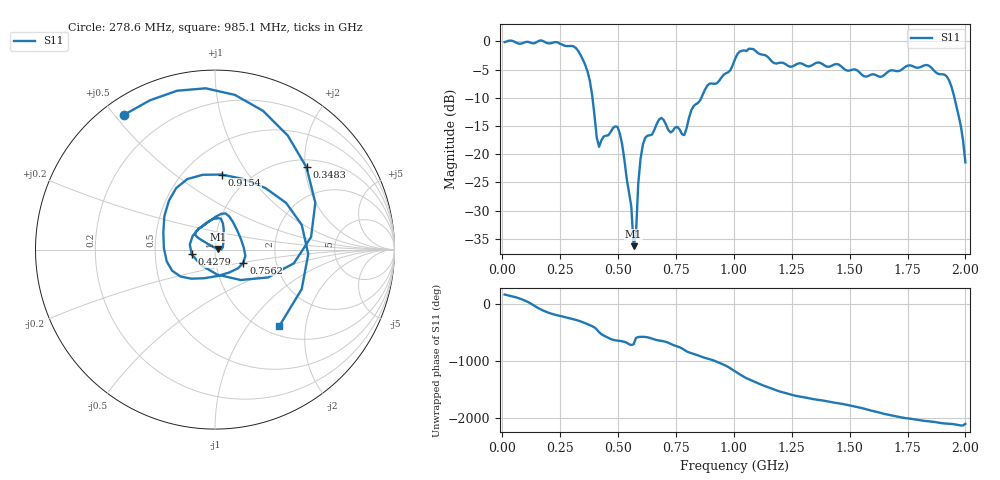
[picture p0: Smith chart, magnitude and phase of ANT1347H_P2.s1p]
!Created with skrf (http://scikit-rf.org).
# Hz S RI R 50.0
!freq ReS11 ImS11
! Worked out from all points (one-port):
!   201 points, 10 MHz to 2 GHz, reference 50 ohm
!   lowest |S11| = -36.3 dB at 567.2 MHz (marker M1), VSWR 1.03, Z = 51.5 + j0.371 ohm
!   |S11| at or under -10 dB: 389.4 MHz to 859.6 MHz (470.2 MHz wide, 75.3 % of centre); 1.953 GHz to end of sweep
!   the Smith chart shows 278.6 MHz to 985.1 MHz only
!   S11 on the Smith chart (normalised r, x): 278.6 MHz: 0.06, +0.53; 348.3 MHz: 1.18, +2.04; 427.9 MHz: 0.77, -0.04; 756.2 MHz: 1.36, -0.20; 915.5 MHz: 0.75, +0.76; 985.1 MHz: 1.17, -1.44
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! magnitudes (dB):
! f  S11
! 10 MHz  -0.1
! 258.8 MHz  -0.6
! 278.6 MHz  -0.9
! 348.3 MHz  -3.3
! 378.1 MHz  -7.0
! 408 MHz  -17.1
! 427.9 MHz  -17.5
! 507.5 MHz  -16.3
! 557.2 MHz  -29.3
! 567.2 MHz  -36.3
! 577.1 MHz  -34.3
! 587.1 MHz  -25.3
! 597 MHz  -20.8
! 617 MHz  -17.1
! 686.6 MHz  -13.6
! 756.2 MHz  -15.2
! 786.1 MHz  -16.6
! 825.9 MHz  -11.5
! 915.5 MHz  -7.5
! 985.1 MHz  -5.1
! 1.005 GHz  -3.2
! 1.075 GHz  -1.3
! 1.254 GHz  -4.4
! 1.502 GHz  -5.2
! 1.751 GHz  -4.3
! 1.92 GHz  -6.3
! 1.98 GHz  -14.9
! 2 GHz  -21.5
